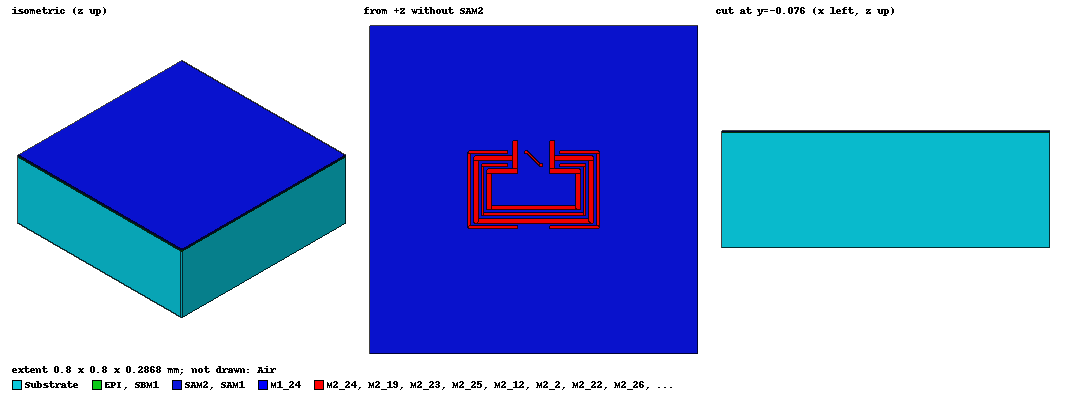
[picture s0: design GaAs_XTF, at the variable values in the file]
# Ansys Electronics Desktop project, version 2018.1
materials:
  vacuum: permittivity=1
  GaAs_Sub: permittivity=11.9 permeability=1 conductivity=2 lande_g_factor=2
  GaAs_EPI: permittivity=11.9 permeability=1 conductivity=3.75 lande_g_factor=2
  GaAs_MIMD: permittivity=6.75 permeability=1 lande_g_factor=2
  GaAs_SOI: permittivity=6.75 permeability=1 lande_g_factor=2
  GaAs_SIO2: permittivity=6.75 permeability=1 lande_g_factor=2
  GaAs_PSV: permittivity=6.6 permeability=1 lande_g_factor=2
  GaAs_air: permittivity=1 permeability=1 lande_g_factor=2
  M2: permittivity=1 permeability=1 conductivity=23190000 lande_g_factor=2
  M1: permittivity=1 permeability=1 conductivity=23190000 lande_g_factor=2
  Activ: permittivity=1 permeability=1 conductivity=357000000000 lande_g_factor=2
  V1: permittivity=1 permeability=1 conductivity=1160000 lande_g_factor=2
  air: permittivity=1.0006 permeability=1.0000004
  default_via_material: permeability=0.999991 conductivity=58000000
  default_via_material0: permeability=0.999991 conductivity=58000000
  default_via_material1: permeability=0.999991 conductivity=58000000
  default_via_material2: permeability=0.999991 conductivity=58000000

design GaAs_XTF (HFSS, DrivenModal, model units mm)
options: Allow_Material_Override
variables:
  extent_x_pos = 1000mm
  extent_y_pos = 1000mm
  extent_x_size = -1000mm
  extent_y_size = -1000mm
  Activ_thickness = 0.0004mm
  Activ_lower_elevation = 0.28375mm
  extent_x_pos_1 = -0.16mm
  extent_y_pos_1 = -0.095mm
  extent_x_size_1 = 0.32mm
  extent_y_size_1 = 0.19mm
  M1_thickness = 0.00049mm
  M1_lower_elevation = 0.28479mm
  extent_x_pos_2 = -0.16mm
  extent_y_pos_2 = -0.095mm
  extent_x_size_2 = 0.32mm
  extent_y_size_2 = 0.215mm
  M2_thickness = 0.00049mm
  M2_lower_elevation = 0.28575mm
  extent_x_pos_3 = -0.159mm
  extent_y_pos_3 = -0.094mm
  extent_x_size_3 = 0.318mm
  extent_y_size_3 = 0.189mm
  V1_thickness = 0.00047mm
  V1_lower_elevation = 0.28528mm
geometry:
  Substrate [GaAs_Sub] = box(corner=(-400um, -400um, 0um), size=(800um, 800um, 280um))
  EPI [GaAs_EPI] = box(corner=(-400um, -400um, 280um), size=(800um, 800um, 3.75um))
  SBM1 [GaAs_SIO2] = box(corner=(-400um, -400um, 283.75um), size=(800um, 800um, 1.04um))
  SAM1 [GaAs_SIO2] = box(corner=(-400um, -400um, 284.79um), size=(800um, 800um, 0.96um))
  SAM2 [GaAs_SIO2] = box(corner=(-400um, -400um, 285.75um), size=(800um, 800um, 1.03um))
  Air [Air] = box(corner=(-800um, -800um, -100um), size=(1600um, 1600um, 1000um))
  M1_1 [M1] = polyline(z=M1_lower_elevation, xy in mm: (0.016, 0.063) (0.016, 0.057) (0.064, 0.057) (0.064, 0.063) (0.016, 0.063), closed, covered)
  M1_1.sweep_along_vector((0mm, 0mm, M1_thickness))
  M1_2 [M1] = polyline(z=M1_lower_elevation, xy in mm: (-0.064, 0.095) (-0.064, 0.089) (-0.016, 0.089) (-0.016, 0.095) (-0.064, 0.095), closed, covered)
  M1_2.sweep_along_vector((0mm, 0mm, M1_thickness))
  M1_3 [M1] = polyline(z=M1_lower_elevation, xy in mm: (0.014757, 0.089) (0.064, 0.089) (0.064, 0.095) (0.014757, 0.095) (0.013, 0.093243) (0.013, 0.090757) (0.014757, 0.089), closed, covered)
  M1_3.sweep_along_vector((0mm, 0mm, M1_thickness))
  M1_4 [M1] = polyline(z=M1_lower_elevation, xy in mm: (-0.017243, 0.057) (-0.014757, 0.057) (0.019, 0.090757) (0.019, 0.093243) (0.017243, 0.095) (0.014757, 0.095) (-0.019, 0.061243) (-0.019, 0.058757) (-0.017243, 0.057), closed, covered)
  M1_4.sweep_along_vector((0mm, 0mm, M1_thickness))
  M1_5 [M1] = polyline(z=M1_lower_elevation, xy in mm: (-0.064, 0.057) (-0.014757, 0.057) (-0.013, 0.058757) (-0.013, 0.061243) (-0.014757, 0.063) (-0.064, 0.063) (-0.064, 0.057), closed, covered)
  M1_5.sweep_along_vector((0mm, 0mm, M1_thickness))
  M1_6 [M1] = polyline(z=M1_lower_elevation, xy in mm: (0.04, -0.095) (0.158243, -0.095) (0.16, -0.093243) (0.16, -0.090757) (0.158243, -0.089) (0.04, -0.089) (0.04, -0.095), closed, covered)
  M1_6.sweep_along_vector((0mm, 0mm, M1_thickness))
  M1_7 [M1] = polyline(z=M1_lower_elevation, xy in mm: (0.155757, -0.095) (0.158243, -0.095) (0.16, -0.093243) (0.16, 0.093243) (0.158243, 0.095) (0.155757, 0.095) (0.154, 0.093243) (0.154, -0.093243) (0.155757, -0.095), closed, covered)
  M1_7.sweep_along_vector((0mm, 0mm, M1_thickness))
  M1_8 [M1] = polyline(z=M1_lower_elevation, xy in mm: (0.064, 0.089) (0.158243, 0.089) (0.16, 0.090757) (0.16, 0.093243) (0.158243, 0.095) (0.064, 0.095) (0.064, 0.089), closed, covered)
  M1_8.sweep_along_vector((0mm, 0mm, M1_thickness))
  M1_9 [M1] = polyline(z=M1_lower_elevation, xy in mm: (-0.158243, -0.095) (-0.04, -0.095) (-0.04, -0.089) (-0.158243, -0.089) (-0.16, -0.090757) (-0.16, -0.093243) (-0.158243, -0.095), closed, covered)
  M1_9.sweep_along_vector((0mm, 0mm, M1_thickness))
  M1_10 [M1] = polyline(z=M1_lower_elevation, xy in mm: (-0.158243, -0.095) (-0.155757, -0.095) (-0.154, -0.093243) (-0.154, 0.093243) (-0.155757, 0.095) (-0.158243, 0.095) (-0.16, 0.093243) (-0.16, -0.093243) (-0.158243, -0.095), closed, covered)
  M1_10.sweep_along_vector((0mm, 0mm, M1_thickness))
  M1_11 [M1] = polyline(z=M1_lower_elevation, xy in mm: (-0.158243, 0.089) (-0.064, 0.089) (-0.064, 0.095) (-0.158243, 0.095) (-0.16, 0.093243) (-0.16, 0.090757) (-0.158243, 0.089), closed, covered)
  M1_11.sweep_along_vector((0mm, 0mm, M1_thickness))
  M1_12 [M1] = polyline(z=M1_lower_elevation, xy in mm: (0.064, 0.057) (0.126243, 0.057) (0.128, 0.058757) (0.128, 0.061243) (0.126243, 0.063) (0.064, 0.063) (0.064, 0.057), closed, covered)
  M1_12.sweep_along_vector((0mm, 0mm, M1_thickness))
  M1_13 [M1] = polyline(z=M1_lower_elevation, xy in mm: (0.123757, -0.063) (0.126243, -0.063) (0.128, -0.061243) (0.128, 0.061243) (0.126243, 0.063) (0.123757, 0.063) (0.122, 0.061243) (0.122, -0.061243) (0.123757, -0.063), closed, covered)
  M1_13.sweep_along_vector((0mm, 0mm, M1_thickness))
  M1_14 [M1] = polyline(z=M1_lower_elevation, xy in mm: (-0.126243, -0.063) (0.126243, -0.063) (0.128, -0.061243) (0.128, -0.058757) (0.126243, -0.057) (-0.126243, -0.057) (-0.128, -0.058757) (-0.128, -0.061243) (-0.126243, -0.063), closed, covered)
  M1_14.sweep_along_vector((0mm, 0mm, M1_thickness))
  M1_15 [M1] = polyline(z=M1_lower_elevation, xy in mm: (-0.126243, -0.063) (-0.123757, -0.063) (-0.122, -0.061243) (-0.122, 0.061243) (-0.123757, 0.063) (-0.126243, 0.063) (-0.128, 0.061243) (-0.128, -0.061243) (-0.126243, -0.063), closed, covered)
  M1_15.sweep_along_vector((0mm, 0mm, M1_thickness))
  M1_16 [M1] = polyline(z=M1_lower_elevation, xy in mm: (-0.126243, 0.057) (-0.064, 0.057) (-0.064, 0.063) (-0.126243, 0.063) (-0.128, 0.061243) (-0.128, 0.058757) (-0.126243, 0.057), closed, covered)
  M1_16.sweep_along_vector((0mm, 0mm, M1_thickness))
  M1_17 [M1] = polyline(z=M1_lower_elevation, xy in mm: (0.04, 0.038) (0.111485, 0.038) (0.115, 0.041515) (0.115, 0.046485) (0.111485, 0.05) (0.04, 0.05) (0.04, 0.038), closed, covered)
  M1_17.sweep_along_vector((0mm, 0mm, M1_thickness))
  M1_18 [M1] = polyline(z=M1_lower_elevation, xy in mm: (0.106515, -0.05) (0.111485, -0.05) (0.115, -0.046485) (0.115, 0.046485) (0.111485, 0.05) (0.106515, 0.05) (0.103, 0.046485) (0.103, -0.046485) (0.106515, -0.05), closed, covered)
  M1_18.sweep_along_vector((0mm, 0mm, M1_thickness))
  M1_19 [M1] = polyline(z=M1_lower_elevation, xy in mm: (-0.111485, -0.05) (0.111485, -0.05) (0.115, -0.046485) (0.115, -0.041515) (0.111485, -0.038) (-0.111485, -0.038) (-0.115, -0.041515) (-0.115, -0.046485) (-0.111485, -0.05), closed, covered)
  M1_19.sweep_along_vector((0mm, 0mm, M1_thickness))
  M1_20 [M1] = polyline(z=M1_lower_elevation, xy in mm: (-0.111485, -0.05) (-0.106515, -0.05) (-0.103, -0.046485) (-0.103, 0.046485) (-0.106515, 0.05) (-0.111485, 0.05) (-0.115, 0.046485) (-0.115, -0.046485) (-0.111485, -0.05), closed, covered)
  M1_20.sweep_along_vector((0mm, 0mm, M1_thickness))
  M1_21 [M1] = polyline(z=M1_lower_elevation, xy in mm: (-0.111485, 0.038) (-0.04, 0.038) (-0.04, 0.05) (-0.111485, 0.05) (-0.115, 0.046485) (-0.115, 0.041515) (-0.111485, 0.038), closed, covered)
  M1_21.sweep_along_vector((0mm, 0mm, M1_thickness))
  M1_22 [M1] = polyline(z=M1_lower_elevation, xy in mm: (0.04, 0.07) (0.143485, 0.07) (0.147, 0.073515) (0.147, 0.078485) (0.143485, 0.082) (0.04, 0.082) (0.04, 0.07), closed, covered)
  M1_22.sweep_along_vector((0mm, 0mm, M1_thickness))
  M1_23 [M1] = polyline(z=M1_lower_elevation, xy in mm: (0.138515, -0.082) (0.143485, -0.082) (0.147, -0.078485) (0.147, 0.078485) (0.143485, 0.082) (0.138515, 0.082) (0.135, 0.078485) (0.135, -0.078485) (0.138515, -0.082), closed, covered)
  M1_23.sweep_along_vector((0mm, 0mm, M1_thickness))
  M1_24 [M1] = polyline(z=M1_lower_elevation, xy in mm: (-0.143485, -0.082) (0.143485, -0.082) (0.147, -0.078485) (0.147, -0.073515) (0.143485, -0.07) (-0.143485, -0.07) (-0.147, -0.073515) (-0.147, -0.078485) (-0.143485, -0.082), closed, covered)
  M1_24.sweep_along_vector((0mm, 0mm, M1_thickness))
  M1_25 [M1] = polyline(z=M1_lower_elevation, xy in mm: (-0.143485, -0.082) (-0.138515, -0.082) (-0.135, -0.078485) (-0.135, 0.078485) (-0.138515, 0.082) (-0.143485, 0.082) (-0.147, 0.078485) (-0.147, -0.078485) (-0.143485, -0.082), closed, covered)
  M1_25.sweep_along_vector((0mm, 0mm, M1_thickness))
  M1_26 [M1] = polyline(z=M1_lower_elevation, xy in mm: (-0.143485, 0.07) (-0.04, 0.07) (-0.04, 0.082) (-0.143485, 0.082) (-0.147, 0.078485) (-0.147, 0.073515) (-0.143485, 0.07), closed, covered)
  M1_26.sweep_along_vector((0mm, 0mm, M1_thickness))
  M2_1 [M2] = polyline(z=M2_lower_elevation, xy in mm: (0.014757, 0.057) (0.022, 0.057) (0.022, 0.063) (0.014757, 0.063) (0.013, 0.061243) (0.013, 0.058757) (0.014757, 0.057), closed, covered)
  M2_1.sweep_along_vector((0mm, 0mm, M2_thickness))
  M2_2 [M2] = polyline(z=M2_lower_elevation, xy in mm: (0.014757, 0.057) (0.017243, 0.057) (0.019, 0.058757) (0.019, 0.061243) (-0.014757, 0.095) (-0.017243, 0.095) (-0.019, 0.093243) (-0.019, 0.090757) (0.014757, 0.057), closed, covered)
  M2_2.sweep_along_vector((0mm, 0mm, M2_thickness))
  M2_3 [M2] = polyline(z=M2_lower_elevation, xy in mm: (-0.022, 0.089) (-0.014757, 0.089) (-0.013, 0.090757) (-0.013, 0.093243) (-0.014757, 0.095) (-0.022, 0.095) (-0.022, 0.089), closed, covered)
  M2_3.sweep_along_vector((0mm, 0mm, M2_thickness))
  M2_4 [M2] = polyline(z=M2_lower_elevation, xy in mm: (0.04, -0.095) (0.158243, -0.095) (0.16, -0.093243) (0.16, -0.090757) (0.158243, -0.089) (0.04, -0.089) (0.04, -0.095), closed, covered)
  M2_4.sweep_along_vector((0mm, 0mm, M2_thickness))
  M2_5 [M2] = polyline(z=M2_lower_elevation, xy in mm: (0.155757, -0.095) (0.158243, -0.095) (0.16, -0.093243) (0.16, 0.093243) (0.158243, 0.095) (0.155757, 0.095) (0.154, 0.093243) (0.154, -0.093243) (0.155757, -0.095), closed, covered)
  M2_5.sweep_along_vector((0mm, 0mm, M2_thickness))
  M2_6 [M2] = polyline(z=M2_lower_elevation, xy in mm: (0.064, 0.089) (0.158243, 0.089) (0.16, 0.090757) (0.16, 0.093243) (0.158243, 0.095) (0.064, 0.095) (0.064, 0.089), closed, covered)
  M2_6.sweep_along_vector((0mm, 0mm, M2_thickness))
  M2_7 [M2] = polyline(z=M2_lower_elevation, xy in mm: (-0.158243, -0.095) (-0.04, -0.095) (-0.04, -0.089) (-0.158243, -0.089) (-0.16, -0.090757) (-0.16, -0.093243) (-0.158243, -0.095), closed, covered)
  M2_7.sweep_along_vector((0mm, 0mm, M2_thickness))
  M2_8 [M2] = polyline(z=M2_lower_elevation, xy in mm: (-0.158243, -0.095) (-0.155757, -0.095) (-0.154, -0.093243) (-0.154, 0.093243) (-0.155757, 0.095) (-0.158243, 0.095) (-0.16, 0.093243) (-0.16, -0.093243) (-0.158243, -0.095), closed, covered)
  M2_8.sweep_along_vector((0mm, 0mm, M2_thickness))
  M2_9 [M2] = polyline(z=M2_lower_elevation, xy in mm: (-0.158243, 0.089) (-0.064, 0.089) (-0.064, 0.095) (-0.158243, 0.095) (-0.16, 0.093243) (-0.16, 0.090757) (-0.158243, 0.089), closed, covered)
  M2_9.sweep_along_vector((0mm, 0mm, M2_thickness))
  M2_10 [M2] = polyline(z=M2_lower_elevation, xy in mm: (0.064, 0.057) (0.126243, 0.057) (0.128, 0.058757) (0.128, 0.061243) (0.126243, 0.063) (0.064, 0.063) (0.064, 0.057), closed, covered)
  M2_10.sweep_along_vector((0mm, 0mm, M2_thickness))
  M2_11 [M2] = polyline(z=M2_lower_elevation, xy in mm: (0.123757, -0.063) (0.126243, -0.063) (0.128, -0.061243) (0.128, 0.061243) (0.126243, 0.063) (0.123757, 0.063) (0.122, 0.061243) (0.122, -0.061243) (0.123757, -0.063), closed, covered)
  M2_11.sweep_along_vector((0mm, 0mm, M2_thickness))
  M2_12 [M2] = polyline(z=M2_lower_elevation, xy in mm: (-0.126243, -0.063) (0.126243, -0.063) (0.128, -0.061243) (0.128, -0.058757) (0.126243, -0.057) (-0.126243, -0.057) (-0.128, -0.058757) (-0.128, -0.061243) (-0.126243, -0.063), closed, covered)
  M2_12.sweep_along_vector((0mm, 0mm, M2_thickness))
  M2_13 [M2] = polyline(z=M2_lower_elevation, xy in mm: (-0.126243, -0.063) (-0.123757, -0.063) (-0.122, -0.061243) (-0.122, 0.061243) (-0.123757, 0.063) (-0.126243, 0.063) (-0.128, 0.061243) (-0.128, -0.061243) (-0.126243, -0.063), closed, covered)
  M2_13.sweep_along_vector((0mm, 0mm, M2_thickness))
  M2_14 [M2] = polyline(z=M2_lower_elevation, xy in mm: (-0.126243, 0.057) (-0.064, 0.057) (-0.064, 0.063) (-0.126243, 0.063) (-0.128, 0.061243) (-0.128, 0.058757) (-0.126243, 0.057), closed, covered)
  M2_14.sweep_along_vector((0mm, 0mm, M2_thickness))
  M2_15 [M2] = polyline(z=M2_lower_elevation, xy in mm: (0.04, 0.038) (0.052, 0.038) (0.052, 0.12) (0.04, 0.12) (0.04, 0.038), closed, covered)
  M2_15.sweep_along_vector((0mm, 0mm, M2_thickness))
  M2_16 [M2] = polyline(z=M2_lower_elevation, xy in mm: (-0.052, 0.038) (-0.04, 0.038) (-0.04, 0.12) (-0.052, 0.12) (-0.052, 0.038), closed, covered)
  M2_16.sweep_along_vector((0mm, 0mm, M2_thickness))
  M2_17 [M2] = polyline(z=M2_lower_elevation, xy in mm: (0.04, 0.038) (0.111485, 0.038) (0.115, 0.041515) (0.115, 0.046485) (0.111485, 0.05) (0.04, 0.05) (0.04, 0.038), closed, covered)
  M2_17.sweep_along_vector((0mm, 0mm, M2_thickness))
  M2_18 [M2] = polyline(z=M2_lower_elevation, xy in mm: (0.106515, -0.05) (0.111485, -0.05) (0.115, -0.046485) (0.115, 0.046485) (0.111485, 0.05) (0.106515, 0.05) (0.103, 0.046485) (0.103, -0.046485) (0.106515, -0.05), closed, covered)
  M2_18.sweep_along_vector((0mm, 0mm, M2_thickness))
  M2_19 [M2] = polyline(z=M2_lower_elevation, xy in mm: (-0.111485, -0.05) (0.111485, -0.05) (0.115, -0.046485) (0.115, -0.041515) (0.111485, -0.038) (-0.111485, -0.038) (-0.115, -0.041515) (-0.115, -0.046485) (-0.111485, -0.05), closed, covered)
  M2_19.sweep_along_vector((0mm, 0mm, M2_thickness))
  M2_20 [M2] = polyline(z=M2_lower_elevation, xy in mm: (-0.111485, -0.05) (-0.106515, -0.05) (-0.103, -0.046485) (-0.103, 0.046485) (-0.106515, 0.05) (-0.111485, 0.05) (-0.115, 0.046485) (-0.115, -0.046485) (-0.111485, -0.05), closed, covered)
  M2_20.sweep_along_vector((0mm, 0mm, M2_thickness))
  M2_21 [M2] = polyline(z=M2_lower_elevation, xy in mm: (-0.111485, 0.038) (-0.04, 0.038) (-0.04, 0.05) (-0.111485, 0.05) (-0.115, 0.046485) (-0.115, 0.041515) (-0.111485, 0.038), closed, covered)
  M2_21.sweep_along_vector((0mm, 0mm, M2_thickness))
  M2_22 [M2] = polyline(z=M2_lower_elevation, xy in mm: (0.04, 0.07) (0.143485, 0.07) (0.147, 0.073515) (0.147, 0.078485) (0.143485, 0.082) (0.04, 0.082) (0.04, 0.07), closed, covered)
  M2_22.sweep_along_vector((0mm, 0mm, M2_thickness))
  M2_23 [M2] = polyline(z=M2_lower_elevation, xy in mm: (0.138515, -0.082) (0.143485, -0.082) (0.147, -0.078485) (0.147, 0.078485) (0.143485, 0.082) (0.138515, 0.082) (0.135, 0.078485) (0.135, -0.078485) (0.138515, -0.082), closed, covered)
  M2_23.sweep_along_vector((0mm, 0mm, M2_thickness))
  M2_24 [M2] = polyline(z=M2_lower_elevation, xy in mm: (-0.143485, -0.082) (0.143485, -0.082) (0.147, -0.078485) (0.147, -0.073515) (0.143485, -0.07) (-0.143485, -0.07) (-0.147, -0.073515) (-0.147, -0.078485) (-0.143485, -0.082), closed, covered)
  M2_24.sweep_along_vector((0mm, 0mm, M2_thickness))
  M2_25 [M2] = polyline(z=M2_lower_elevation, xy in mm: (-0.143485, -0.082) (-0.138515, -0.082) (-0.135, -0.078485) (-0.135, 0.078485) (-0.138515, 0.082) (-0.143485, 0.082) (-0.147, 0.078485) (-0.147, -0.078485) (-0.143485, -0.082), closed, covered)
  M2_25.sweep_along_vector((0mm, 0mm, M2_thickness))
  M2_26 [M2] = polyline(z=M2_lower_elevation, xy in mm: (-0.143485, 0.07) (-0.04, 0.07) (-0.04, 0.082) (-0.143485, 0.082) (-0.147, 0.078485) (-0.147, 0.073515) (-0.143485, 0.07), closed, covered)
  M2_26.sweep_along_vector((0mm, 0mm, M2_thickness))
  V1_1 [V1] = polyline(z=V1_lower_elevation, xy in mm: (0.04, -0.094) (0.157828, -0.094) (0.159, -0.092828) (0.159, -0.091172) (0.157828, -0.09) (0.04, -0.09) (0.04, -0.094), closed, covered)
  V1_1.sweep_along_vector((0mm, 0mm, V1_thickness))
  V1_2 [V1] = polyline(z=V1_lower_elevation, xy in mm: (0.156172, -0.094) (0.157828, -0.094) (0.159, -0.092828) (0.159, 0.092828) (0.157828, 0.094) (0.156172, 0.094) (0.155, 0.092828) (0.155, -0.092828) (0.156172, -0.094), closed, covered)
  V1_2.sweep_along_vector((0mm, 0mm, V1_thickness))
  V1_3 [V1] = polyline(z=V1_lower_elevation, xy in mm: (0.064, 0.09) (0.157828, 0.09) (0.159, 0.091172) (0.159, 0.092828) (0.157828, 0.094) (0.064, 0.094) (0.064, 0.09), closed, covered)
  V1_3.sweep_along_vector((0mm, 0mm, V1_thickness))
  V1_4 [V1] = polyline(z=V1_lower_elevation, xy in mm: (-0.157828, -0.094) (-0.04, -0.094) (-0.04, -0.09) (-0.157828, -0.09) (-0.159, -0.091172) (-0.159, -0.092828) (-0.157828, -0.094), closed, covered)
  V1_4.sweep_along_vector((0mm, 0mm, V1_thickness))
  V1_5 [V1] = polyline(z=V1_lower_elevation, xy in mm: (-0.157828, -0.094) (-0.156172, -0.094) (-0.155, -0.092828) (-0.155, 0.092828) (-0.156172, 0.094) (-0.157828, 0.094) (-0.159, 0.092828) (-0.159, -0.092828) (-0.157828, -0.094), closed, covered)
  V1_5.sweep_along_vector((0mm, 0mm, V1_thickness))
  V1_6 [V1] = polyline(z=V1_lower_elevation, xy in mm: (-0.157828, 0.09) (-0.064, 0.09) (-0.064, 0.094) (-0.157828, 0.094) (-0.159, 0.092828) (-0.159, 0.091172) (-0.157828, 0.09), closed, covered)
  V1_6.sweep_along_vector((0mm, 0mm, V1_thickness))
  V1_7 [V1] = polyline(z=V1_lower_elevation, xy in mm: (0.064, 0.058) (0.125828, 0.058) (0.127, 0.059172) (0.127, 0.060828) (0.125828, 0.062) (0.064, 0.062) (0.064, 0.058), closed, covered)
  V1_7.sweep_along_vector((0mm, 0mm, V1_thickness))
  V1_8 [V1] = polyline(z=V1_lower_elevation, xy in mm: (0.124172, -0.062) (0.125828, -0.062) (0.127, -0.060828) (0.127, 0.060828) (0.125828, 0.062) (0.124172, 0.062) (0.123, 0.060828) (0.123, -0.060828) (0.124172, -0.062), closed, covered)
  V1_8.sweep_along_vector((0mm, 0mm, V1_thickness))
  V1_9 [V1] = polyline(z=V1_lower_elevation, xy in mm: (-0.125828, -0.062) (0.125828, -0.062) (0.127, -0.060828) (0.127, -0.059172) (0.125828, -0.058) (-0.125828, -0.058) (-0.127, -0.059172) (-0.127, -0.060828) (-0.125828, -0.062), closed, covered)
  V1_9.sweep_along_vector((0mm, 0mm, V1_thickness))
  V1_10 [V1] = polyline(z=V1_lower_elevation, xy in mm: (-0.125828, -0.062) (-0.124172, -0.062) (-0.123, -0.060828) (-0.123, 0.060828) (-0.124172, 0.062) (-0.125828, 0.062) (-0.127, 0.060828) (-0.127, -0.060828) (-0.125828, -0.062), closed, covered)
  V1_10.sweep_along_vector((0mm, 0mm, V1_thickness))
  V1_11 [V1] = polyline(z=V1_lower_elevation, xy in mm: (-0.125828, 0.058) (-0.064, 0.058) (-0.064, 0.062) (-0.125828, 0.062) (-0.127, 0.060828) (-0.127, 0.059172) (-0.125828, 0.058), closed, covered)
  V1_11.sweep_along_vector((0mm, 0mm, V1_thickness))
  V1_12 [V1] = polyline(z=V1_lower_elevation, xy in mm: (0.04, 0.039) (0.111071, 0.039) (0.114, 0.041929) (0.114, 0.046071) (0.111071, 0.049) (0.04, 0.049) (0.04, 0.039), closed, covered)
  V1_12.sweep_along_vector((0mm, 0mm, V1_thickness))
  V1_13 [V1] = polyline(z=V1_lower_elevation, xy in mm: (0.106929, -0.049) (0.111071, -0.049) (0.114, -0.046071) (0.114, 0.046071) (0.111071, 0.049) (0.106929, 0.049) (0.104, 0.046071) (0.104, -0.046071) (0.106929, -0.049), closed, covered)
  V1_13.sweep_along_vector((0mm, 0mm, V1_thickness))
  V1_14 [V1] = polyline(z=V1_lower_elevation, xy in mm: (-0.111071, -0.049) (0.111071, -0.049) (0.114, -0.046071) (0.114, -0.041929) (0.111071, -0.039) (-0.111071, -0.039) (-0.114, -0.041929) (-0.114, -0.046071) (-0.111071, -0.049), closed, covered)
  V1_14.sweep_along_vector((0mm, 0mm, V1_thickness))
  V1_15 [V1] = polyline(z=V1_lower_elevation, xy in mm: (-0.111071, -0.049) (-0.106929, -0.049) (-0.104, -0.046071) (-0.104, 0.046071) (-0.106929, 0.049) (-0.111071, 0.049) (-0.114, 0.046071) (-0.114, -0.046071) (-0.111071, -0.049), closed, covered)
  V1_15.sweep_along_vector((0mm, 0mm, V1_thickness))
  V1_16 [V1] = polyline(z=V1_lower_elevation, xy in mm: (-0.111071, 0.039) (-0.04, 0.039) (-0.04, 0.049) (-0.111071, 0.049) (-0.114, 0.046071) (-0.114, 0.041929) (-0.111071, 0.039), closed, covered)
  V1_16.sweep_along_vector((0mm, 0mm, V1_thickness))
  V1_17 [V1] = polyline(z=V1_lower_elevation, xy in mm: (0.04, 0.071) (0.143071, 0.071) (0.146, 0.073929) (0.146, 0.078071) (0.143071, 0.081) (0.04, 0.081) (0.04, 0.071), closed, covered)
  V1_17.sweep_along_vector((0mm, 0mm, V1_thickness))
  V1_18 [V1] = polyline(z=V1_lower_elevation, xy in mm: (0.138929, -0.081) (0.143071, -0.081) (0.146, -0.078071) (0.146, 0.078071) (0.143071, 0.081) (0.138929, 0.081) (0.136, 0.078071) (0.136, -0.078071) (0.138929, -0.081), closed, covered)
  V1_18.sweep_along_vector((0mm, 0mm, V1_thickness))
  V1_19 [V1] = polyline(z=V1_lower_elevation, xy in mm: (-0.143071, -0.081) (0.143071, -0.081) (0.146, -0.078071) (0.146, -0.073929) (0.143071, -0.071) (-0.143071, -0.071) (-0.146, -0.073929) (-0.146, -0.078071) (-0.143071, -0.081), closed, covered)
  V1_19.sweep_along_vector((0mm, 0mm, V1_thickness))
  V1_20 [V1] = polyline(z=V1_lower_elevation, xy in mm: (-0.143071, -0.081) (-0.138929, -0.081) (-0.136, -0.078071) (-0.136, 0.078071) (-0.138929, 0.081) (-0.143071, 0.081) (-0.146, 0.078071) (-0.146, -0.078071) (-0.143071, -0.081), closed, covered)
  V1_20.sweep_along_vector((0mm, 0mm, V1_thickness))
  V1_21 [V1] = polyline(z=V1_lower_elevation, xy in mm: (-0.143071, 0.071) (-0.04, 0.071) (-0.04, 0.081) (-0.143071, 0.081) (-0.146, 0.078071) (-0.146, 0.073929) (-0.143071, 0.071), closed, covered)
  V1_21.sweep_along_vector((0mm, 0mm, V1_thickness))
  V1_22 [V1] = polyline(z=V1_lower_elevation, xy in mm: (0.016, 0.057) (0.022, 0.057) (0.022, 0.063) (0.016, 0.063) (0.016, 0.057), closed, covered)
  V1_22.sweep_along_vector((0mm, 0mm, V1_thickness))
  V1_23 [V1] = polyline(z=V1_lower_elevation, xy in mm: (-0.022, 0.089) (-0.016, 0.089) (-0.016, 0.095) (-0.022, 0.095) (-0.022, 0.089), closed, covered)
  V1_23.sweep_along_vector((0mm, 0mm, V1_thickness))
  pa = rectangle(corner=(-52um, 120um, 0um), z_size=285.75um, x_size=12um)
  pb = rectangle(corner=(40um, 120um, 0um), z_size=285.75um, x_size=12um)
  pc = rectangle(corner=(-46um, -95um, 0um), y_size=6um, z_size=285.75um)
  pd = rectangle(corner=(46um, -95um, 0um), y_size=6um, z_size=285.75um)
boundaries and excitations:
  Rad1: Radiation Faces=Air.face(all 6)
  1: Lumped Port Objects=pa Modes{Mode1{IntLine{middle of pa.edge(z at corner) -> middle of pa.edge(z opposite corner)} CharImp=Zpi RenormImp=50ohm}} Impedance=50ohm
  2: Lumped Port Objects=pb Modes{Mode1{IntLine{middle of pb.edge(z at corner) -> middle of pb.edge(z opposite corner)} CharImp=Zpi RenormImp=50ohm}} Impedance=50ohm
  3: Lumped Port Objects=pc Modes{Mode1{IntLine{middle of pc.edge(z at corner) -> middle of pc.edge(z opposite corner)} CharImp=Zpi RenormImp=50ohm}} Impedance=50ohm
  4: Lumped Port Objects=pd Modes{Mode1{IntLine{middle of pd.edge(z at corner) -> middle of pd.edge(z opposite corner)} CharImp=Zpi RenormImp=50ohm}} Impedance=50ohm
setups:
  Setup1: HfssDriven Frequency=140000000000Hz MaxDeltaS=0.02 MaximumPasses=20 MinimumPasses=2 MinimumConvergedPasses=2 PercentRefinement=30 BasisOrder=2 Target=0.6667 PortAccuracy=2
    sweep Sweep1: 0Hz to 180000000000Hz step 10000000000Hz; Type=Interpolating InterpTolerance=0.5 InterpMaxSolns=250 MinSolvedFreq=0.01GHz InterpUsePortImped=false PassivityErrorTolerance=0.0001
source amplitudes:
  1:1: 1W 0deg
  2:1, 3:1, 4:1: 0W 0deg
